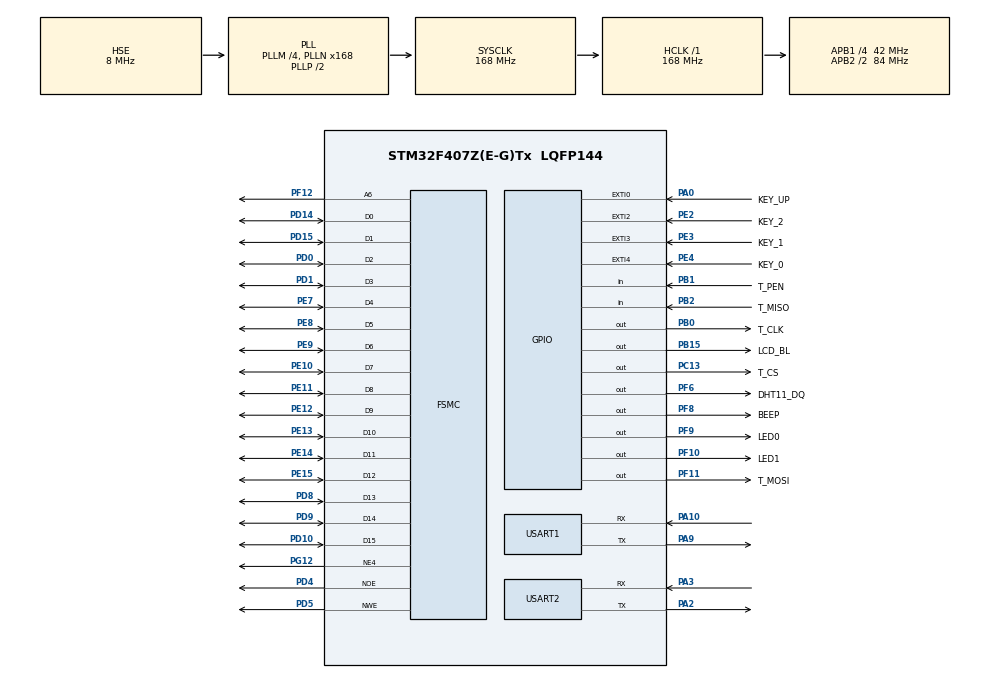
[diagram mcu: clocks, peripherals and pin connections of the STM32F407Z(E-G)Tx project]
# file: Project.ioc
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FREERTOS.Tasks01=defaultTask,24,128,StartDefaultTask,Default,NULL,Dynamic,NULL,NULL
FSMC.AddressSetupTime1=0
FSMC.DataSetupTime1=15
FSMC.ExtendedAddressSetupTime1=0
FSMC.ExtendedMode1=FSMC_EXTENDED_MODE_ENABLE
Mcu.Family=STM32F4
Mcu.Name=STM32F407Z(E-G)Tx
Mcu.Package=LQFP144
NVIC.PriorityGroup=NVIC_PRIORITYGROUP_4
NVIC.TIM1_UP_TIM10_IRQn=true\:0\:0\:true\:false\:true\:false\:false\:true\:true
NVIC.TimeBase=TIM1_UP_TIM10_IRQn
NVIC.TimeBaseIP=TIM1
PA0-WKUP.GPIO_Label=KEY_UP
PA0-WKUP.GPIO_ModeDefaultEXTI=GPIO_MODE_IT_RISING
PA0-WKUP.GPIO_PuPd=GPIO_PULLDOWN
PA0-WKUP.Signal=GPXTI0
PA10.Mode=Asynchronous
PA10.Signal=USART1_RX
PA13.Mode=Serial_Wire
PA13.Signal=SYS_JTMS-SWDIO
PA14.Mode=Serial_Wire
PA14.Signal=SYS_JTCK-SWCLK
PA2.Mode=Asynchronous
PA2.Signal=USART2_TX
PA3.Mode=Asynchronous
PA3.Signal=USART2_RX
PA9.Mode=Asynchronous
PA9.Signal=USART1_TX
PB0.GPIO_Label=T_CLK
PB0.GPIO_ModeDefaultOutputPP=GPIO_MODE_OUTPUT_PP
PB0.GPIO_PuPd=GPIO_NOPULL
PB0.GPIO_Speed=GPIO_SPEED_FREQ_HIGH
PB0.Signal=GPIO_Output
PB1.GPIO_Label=T_PEN
PB1.GPIO_Mode=GPIO_MODE_INPUT
PB1.GPIO_PuPd=GPIO_PULLUP
PB1.Signal=GPIO_Input
PB15.GPIO_Label=LCD_BL
PB15.GPIO_ModeDefaultOutputPP=GPIO_MODE_OUTPUT_PP
PB15.GPIO_PuPd=GPIO_PULLUP
PB15.GPIO_Speed=GPIO_SPEED_FREQ_HIGH
PB15.PinState=GPIO_PIN_SET
PB15.Signal=GPIO_Output
PB2.GPIO_Label=T_MISO
PB2.GPIO_PuPd=GPIO_NOPULL
PB2.Signal=GPIO_Input
PC13-ANTI_TAMP.GPIO_Label=T_CS
PC13-ANTI_TAMP.GPIO_ModeDefaultOutputPP=GPIO_MODE_OUTPUT_PP
PC13-ANTI_TAMP.GPIO_PuPd=GPIO_NOPULL
PC13-ANTI_TAMP.PinState=GPIO_PIN_SET
PC13-ANTI_TAMP.Signal=GPIO_Output
PC14-OSC32_IN.Mode=LSE-External-Oscillator
PC14-OSC32_IN.Signal=RCC_OSC32_IN
PC15-OSC32_OUT.Mode=LSE-External-Oscillator
PC15-OSC32_OUT.Signal=RCC_OSC32_OUT
PD0.Signal=FSMC_D2_DA2
PD1.Signal=FSMC_D3_DA3
PD10.Signal=FSMC_D15_DA15
PD14.Signal=FSMC_D0_DA0
PD15.Signal=FSMC_D1_DA1
PD4.Signal=FSMC_NOE
PD5.Signal=FSMC_NWE
PD8.Signal=FSMC_D13_DA13
PD9.Signal=FSMC_D14_DA14
PE10.Signal=FSMC_D7_DA7
PE11.Signal=FSMC_D8_DA8
PE12.Signal=FSMC_D9_DA9
PE13.Signal=FSMC_D10_DA10
PE14.Signal=FSMC_D11_DA11
PE15.Signal=FSMC_D12_DA12
PE2.GPIO_Label=KEY_2
PE2.GPIO_ModeDefaultEXTI=GPIO_MODE_IT_FALLING
PE2.GPIO_PuPd=GPIO_PULLUP
PE2.Signal=GPXTI2
PE3.GPIO_Label=KEY_1
PE3.GPIO_ModeDefaultEXTI=GPIO_MODE_IT_FALLING
PE3.GPIO_PuPd=GPIO_PULLUP
PE3.Signal=GPXTI3
PE4.GPIO_Label=KEY_0
PE4.GPIO_ModeDefaultEXTI=GPIO_MODE_IT_FALLING
PE4.GPIO_PuPd=GPIO_PULLUP
PE4.Signal=GPXTI4
PE7.Signal=FSMC_D4_DA4
PE8.Signal=FSMC_D5_DA5
PE9.Signal=FSMC_D6_DA6
PF10.GPIO_Label=LED1
PF10.GPIO_PuPd=GPIO_NOPULL
PF10.GPIO_Speed=GPIO_SPEED_FREQ_HIGH
PF10.PinState=GPIO_PIN_SET
PF10.Signal=GPIO_Output
PF11.GPIO_Label=T_MOSI
PF11.GPIO_ModeDefaultOutputPP=GPIO_MODE_OUTPUT_PP
PF11.GPIO_PuPd=GPIO_NOPULL
PF11.GPIO_Speed=GPIO_SPEED_FREQ_HIGH
PF11.Signal=GPIO_Output
PF12.Signal=FSMC_A6
PF6.GPIO_Label=DHT11_DQ
PF6.GPIO_ModeDefaultOutputPP=GPIO_MODE_OUTPUT_OD
PF6.GPIO_PuPd=GPIO_PULLUP
PF6.GPIO_Speed=GPIO_SPEED_FREQ_HIGH
PF6.PinState=GPIO_PIN_RESET
PF6.Signal=GPIO_Output
PF8.GPIO_Label=BEEP
PF8.GPIO_ModeDefaultOutputPP=GPIO_MODE_OUTPUT_PP
PF8.GPIO_PuPd=GPIO_NOPULL
PF8.GPIO_Speed=GPIO_SPEED_FREQ_HIGH
PF8.PinState=GPIO_PIN_RESET
PF8.Signal=GPIO_Output
PF9.GPIO_Label=LED0
PF9.GPIO_PuPd=GPIO_NOPULL
PF9.GPIO_Speed=GPIO_SPEED_FREQ_HIGH
PF9.PinState=GPIO_PIN_SET
PF9.Signal=GPIO_Output
PG12.Mode=NorPsramChipSelect4_1
PG12.Signal=FSMC_NE4
PH0-OSC_IN.Mode=HSE-External-Oscillator
PH0-OSC_IN.Signal=RCC_OSC_IN
PH1-OSC_OUT.Mode=HSE-External-Oscillator
PH1-OSC_OUT.Signal=RCC_OSC_OUT
ProjectManager.HeapSize=0x200
ProjectManager.StackSize=0x400
ProjectManager.TargetToolchain=Makefile
RCC.48MHZClocksFreq_Value=84000000
RCC.AHBFreq_Value=168000000
RCC.APB1CLKDivider=RCC_HCLK_DIV4
RCC.APB1Freq_Value=42000000
RCC.APB1TimFreq_Value=84000000
RCC.APB2CLKDivider=RCC_HCLK_DIV2
RCC.APB2Freq_Value=84000000
RCC.APB2TimFreq_Value=168000000
RCC.CortexFreq_Value=168000000
RCC.HCLKFreq_Value=168000000
RCC.HSE_VALUE=8000000
RCC.HSI_VALUE=16000000
RCC.PLLM=4
RCC.PLLN=168
RCC.PLLSourceVirtual=RCC_PLLSOURCE_HSE
RCC.RCC_RTC_Clock_Source=RCC_RTCCLKSOURCE_LSE
RCC.RCC_RTC_Clock_SourceVirtual=RCC_RTCCLKSOURCE_LSE
RCC.SYSCLKFreq_VALUE=168000000
RCC.SYSCLKSource=RCC_SYSCLKSOURCE_PLLCLK
RCC.VCOOutputFreq_Value=336000000
SH.FSMC_A6.0=FSMC_A6,A6_1
SH.FSMC_D0_DA0.0=FSMC_D0,16b-d1
SH.FSMC_D10_DA10.0=FSMC_D10,16b-d1
SH.FSMC_D11_DA11.0=FSMC_D11,16b-d1
SH.FSMC_D12_DA12.0=FSMC_D12,16b-d1
SH.FSMC_D13_DA13.0=FSMC_D13,16b-d1
SH.FSMC_D14_DA14.0=FSMC_D14,16b-d1
SH.FSMC_D15_DA15.0=FSMC_D15,16b-d1
SH.FSMC_D1_DA1.0=FSMC_D1,16b-d1
SH.FSMC_D2_DA2.0=FSMC_D2,16b-d1
SH.FSMC_D3_DA3.0=FSMC_D3,16b-d1
SH.FSMC_D4_DA4.0=FSMC_D4,16b-d1
SH.FSMC_D5_DA5.0=FSMC_D5,16b-d1
SH.FSMC_D6_DA6.0=FSMC_D6,16b-d1
SH.FSMC_D7_DA7.0=FSMC_D7,16b-d1
SH.FSMC_D8_DA8.0=FSMC_D8,16b-d1
SH.FSMC_D9_DA9.0=FSMC_D9,16b-d1
SH.FSMC_NOE.0=FSMC_NOE,Lcd1
SH.FSMC_NWE.0=FSMC_NWE,Lcd1
USART1.VirtualMode=VM_ASYNC
USART2.VirtualMode=VM_ASYNC
VP_FREERTOS_VS_CMSIS_V2.Mode=CMSIS_V2
VP_RTC_VS_RTC_Activate.Mode=RTC_Enabled
VP_RTC_VS_RTC_Calendar.Mode=RTC_Calendar
VP_SYS_VS_tim1.Mode=TIM1
board=custom

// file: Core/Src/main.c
/* USER CODE BEGIN Header */
/**
  ******************************************************************************
  * @file           : main.c
  * @brief          : 天气时钟系统主程序入口
  ******************************************************************************
  * @attention
  *
  * Copyright (c) 2026 STMicroelectronics.
  * All rights reserved.
  *
  * This software is licensed under terms that can be found in the LICENSE file
  * in the root directory of this software component.
  * If no LICENSE file comes with this software, it is provided AS-IS.
  *
  ******************************************************************************
  */
/* USER CODE END Header */
#include "main.h"
#include "cmsis_os.h"
#include "rtc.h"
#include "usart.h"
#include "gpio.h"
#include "fsmc.h"

/* USER CODE BEGIN Includes */
#include "led.h"
#include "bsp_usart.h"
#include "bsp_key.h"
#include "bsp_dht11.h"
#include "bsp_delay.h"
#include "lcd.h"
#include "weather.h"
#include "bsp_espat.h"
#include "page.h"
#include "app.h"
#include "FreeRTOS.h"
#include "task.h"
#include <stdio.h>
#include "lvgl.h"
#include "lv_port_disp.h"
#include "lv_port_indev.h"
/* USER CODE END Includes */

void SystemClock_Config(void);
void MX_FREERTOS_Init(void);

/* USER CODE BEGIN 0 */

/**
 * @brief FreeRTOS断言失败回调
 *
 * 当FreeRTOS内部断言检查失败时调用，禁用中断并进入死循环
 *
 * @param file 断言失败的文件名
 * @param line 断言失败的行号
 */
void vAssertCalled(const char *file, int line)
{
    (void)file;
    (void)line;
    taskDISABLE_INTERRUPTS();
    for (;;);
}

/**
 * @brief FreeRTOS栈溢出钩子函数
 *
 * 当检测到任务栈溢出时调用，禁用中断并进入死循环
 *
 * @param xTask 发生溢出的任务句柄
 * @param pcTaskName 发生溢出的任务名称
 */
void vApplicationStackOverflowHook(TaskHandle_t xTask, char *pcTaskName)
{
    (void)xTask;
    (void)pcTaskName;
    taskDISABLE_INTERRUPTS();
    for (;;);
}

/**
 * @brief FreeRTOS内存分配失败钩子函数
 *
 * 当pvPortMalloc()分配内存失败时调用，禁用中断并进入死循环
 */
void vApplicationMallocFailedHook(void)
{
    taskDISABLE_INTERRUPTS();
    for (;;);
}
/* USER CODE END 0 */

/**
  * @brief  应用程序入口函数
  *
  * 系统启动流程：
  * 1. HAL库初始化（Flash预取、SysTick配置）
  * 2. 系统时钟配置（HSE 8MHz -> PLL -> 168MHz）
  * 3. 外设初始化（GPIO、UART、FSMC、RTC）
  * 4. 驱动初始化（DWT延时、DHT11、LCD、LVGL）
  * 5. 显示欢迎页面
  * 6. 启动FreeRTOS调度器
  *
  * @retval int 正常情况下不会返回
  */
int main(void)
{

  /* MCU Configuration--------------------------------------------------------*/

  /* 复位所有外设，初始化Flash接口和SysTick定时器 */
  HAL_Init();

  /* 配置系统时钟 */
  SystemClock_Config();

  /* 初始化所有配置的外设 */
  MX_GPIO_Init();
  MX_USART1_UART_Init();    /* USART1: 调试串口 (PA9/PA10, 115200) */
  MX_FSMC_Init();            /* FSMC: LCD数据总线 (Bank1 NE4, 16bit) */
  MX_USART2_UART_Init();    /* USART2: ESP模块通信 (PA2/PA3, 115200) */
  MX_RTC_Init();             /* RTC: 实时时钟 (LSE 32.768kHz) */

  /* USER CODE BEGIN 2 */
  printf("[MAIN] Hardware init complete\n");
  printf("[MAIN] SystemCoreClock = %lu\n", SystemCoreClock);

  DWT_Delay_Init();
  printf("[MAIN] DWT init done\n");

  dht11_init();
  printf("[MAIN] DHT11 init done\n");

  lcd_init();
  printf("[MAIN] LCD init done\n");

  lv_init();
  lv_port_disp_init();
  lv_port_indev_init();
  printf("[MAIN] LVGL init done\n");

  welcome_page_display();
  printf("[MAIN] Welcome page displayed\n");

  /* USER CODE END 2 */

  /* 初始化FreeRTOS调度器 */
  osKernelInitialize();
  MX_FREERTOS_Init();

  /* 启动调度器（此函数不会返回） */
  osKernelStart();

  /* 正常情况下不会执行到这里，控制权已交给调度器 */

  while (1)
  {

  }
}

/**
  * @brief 系统时钟配置
  *
  * 时钟树配置：
  * - HSE (8MHz外部晶振) 作为PLL输入
  * - PLLM=4, PLLN=168, PLLP=2 -> SYSCLK=168MHz
  * - AHB分频=1 -> HCLK=168MHz
  * - APB1分频=4 -> PCLK1=42MHz (Timer=84MHz)
  * - APB2分频=2 -> PCLK2=84MHz (Timer=168MHz)
  * - LSE (32.768kHz外部晶振) 用于RTC
  *
  * @retval None
  */
void SystemClock_Config(void)
{
  RCC_OscInitTypeDef RCC_OscInitStruct = {0};
  RCC_ClkInitTypeDef RCC_ClkInitStruct = {0};

  /** 配置主内部稳压器输出电压 */
  __HAL_RCC_PWR_CLK_ENABLE();
  __HAL_PWR_VOLTAGESCALING_CONFIG(PWR_REGULATOR_VOLTAGE_SCALE1);

  /** 初始化RCC振荡器 */
  RCC_OscInitStruct.OscillatorType = RCC_OSCILLATORTYPE_HSE|RCC_OSCILLATORTYPE_LSE;
  RCC_OscInitStruct.HSEState = RCC_HSE_ON;
  RCC_OscInitStruct.LSEState = RCC_LSE_ON;
  RCC_OscInitStruct.PLL.PLLState = RCC_PLL_ON;
  RCC_OscInitStruct.PLL.PLLSource = RCC_PLLSOURCE_HSE;
  RCC_OscInitStruct.PLL.PLLM = 4;
  RCC_OscInitStruct.PLL.PLLN = 168;
  RCC_OscInitStruct.PLL.PLLP = RCC_PLLP_DIV2;
  RCC_OscInitStruct.PLL.PLLQ = 4;
  if (HAL_RCC_OscConfig(&RCC_OscInitStruct) != HAL_OK)
  {
    Error_Handler();
  }

  /** 初始化CPU、AHB和APB总线时钟 */
  RCC_ClkInitStruct.ClockType = RCC_CLOCKTYPE_HCLK|RCC_CLOCKTYPE_SYSCLK
                              |RCC_CLOCKTYPE_PCLK1|RCC_CLOCKTYPE_PCLK2;
  RCC_ClkInitStruct.SYSCLKSource = RCC_SYSCLKSOURCE_PLLCLK;
  RCC_ClkInitStruct.AHBCLKDivider = RCC_SYSCLK_DIV1;
  RCC_ClkInitStruct.APB1CLKDivider = RCC_HCLK_DIV4;
  RCC_ClkInitStruct.APB2CLKDivider = RCC_HCLK_DIV2;

  if (HAL_RCC_ClockConfig(&RCC_ClkInitStruct, FLASH_LATENCY_5) != HAL_OK)
  {
    Error_Handler();
  }
}

/**
  * @brief  定时器周期溢出回调函数（非阻塞模式）
  *
  * 当TIM1中断发生时，在HAL_TIM_IRQHandler()中直接调用此函数
  * 递增全局变量"uwTick"作为应用时间基准
  *
  * @param  htim : TIM句柄
  * @retval None
  */
void HAL_TIM_PeriodElapsedCallback(TIM_HandleTypeDef *htim)
{
  if (htim->Instance == TIM1)
  {
    HAL_IncTick();
  }
}

/**
  * @brief  错误处理函数
  *
  * 当发生不可恢复的错误时调用，禁用中断并进入死循环
  *
  * @retval None
  */
void Error_Handler(void)
{
  __disable_irq();
  while (1)
  {
  }
}
#ifdef USE_FULL_ASSERT
/**
  * @brief  断言失败报告函数
  *
  * @param  file: 源文件名指针
  * @param  line: 断言失败的行号
  * @retval None
  */
void assert_failed(uint8_t *file, uint32_t line)
{
  /* USER CODE BEGIN 6 */
  /* 用户可在此添加自己的实现来报告文件名和行号 */
  /* USER CODE END 6 */
}
#endif /* USE_FULL_ASSERT */

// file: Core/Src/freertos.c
/* USER CODE BEGIN Header */
/**
  ******************************************************************************
  * @file           : freertos.c
  * @brief          : FreeRTOS任务管理与系统核心逻辑
  ******************************************************************************
  * @attention
  *
  * Copyright (c) 2026 STMicroelectronics.
  * All rights reserved.
  *
  * This software is licensed under terms that can be found in the LICENSE file
  * in the root directory of this software component.
  * If no LICENSE file comes with this software, it is provided AS-IS.
  *
  ******************************************************************************
  */
/* USER CODE END Header */

#include "FreeRTOS.h"
#include "task.h"
#include "main.h"
#include "cmsis_os.h"

/* USER CODE BEGIN Includes */
#include "bsp_usart.h"
#include "bsp_dht11.h"
#include "bsp_delay.h"
#include "bsp_rtc.h"
#include "bsp_espat.h"
#include "lcd.h"
#include "weather.h"
#include "page.h"
#include "app.h"
#include <stdio.h>
#include <string.h>
#include "stm32f4xx.h"
#include "lvgl.h"
#include "lv_port_indev.h"

extern int __io_putchar(int ch);
/* USER CODE END Includes */

/* USER CODE BEGIN Variables */

/*============================================================================*/
/*                             同步对象定义                                   */
/*============================================================================*/

osMutexId_t lcd_mutex = NULL;           /**< LVGL互斥锁，保护LVGL线程安全 */
static osMutexId_t esp_mutex = NULL;    /**< ESP模块互斥锁，保护AT指令通信 */
static osEventFlagsId_t app_events = NULL;  /**< 应用事件标志组 */
static osTimerId_t led_timer = NULL;    /**< LED心跳定时器 */

/*============================================================================*/
/*                             事件标志定义                                   */
/*============================================================================*/

#define EVENT_WIFI_CONNECTED   (1 << 0)    /**< WiFi已连接事件 */
#define EVENT_TIME_SYNCED      (1 << 1)    /**< 时间已同步事件 */
#define EVENT_MAIN_PAGE_READY  (1 << 2)    /**< 主页面已就绪事件 */

/*============================================================================*/
/*                             调试配置                                       */
/*============================================================================*/

#define DEBUG_ENABLED  1

#if DEBUG_ENABLED
#define DEBUG_PRINTF(fmt, ...) printf(fmt, ##__VA_ARGS__)
#else
#define DEBUG_PRINTF(fmt, ...)
#endif

/*============================================================================*/
/*                             任务句柄与属性                                 */
/*============================================================================*/

/* WiFi任务 */
osThreadId_t wifiTaskHandle;
const osThreadAttr_t wifiTask_attributes = {
  .name = "wifiTask",
  .stack_size = 1024 * 4,       /* 4KB栈空间 */
  .priority = (osPriority_t) osPriorityNormal,
};

/* 时间任务 */
osThreadId_t timeTaskHandle;
const osThreadAttr_t timeTask_attributes = {
  .name = "timeTask",
  .stack_size = 256 * 4,        /* 1KB栈空间 */
  .priority = (osPriority_t) osPriorityNormal,
};

/* 传感器任务 */
osThreadId_t sensorTaskHandle;
const osThreadAttr_t sensorTask_attributes = {
  .name = "sensorTask",
  .stack_size = 256 * 4,        /* 1KB栈空间 */
  .priority = (osPriority_t) osPriorityNormal,
};

/* 天气任务 */
osThreadId_t weatherTaskHandle;
const osThreadAttr_t weatherTask_attributes = {
    .name = "weatherTask",
    .stack_size = 512 * 4,      /* 2KB栈空间 */
    .priority = (osPriority_t) osPriorityBelowNormal,  /* 低于Normal，避免阻塞其他任务 */
};

/* LVGL任务 */
osThreadId_t lvglTaskHandle;
const osThreadAttr_t lvglTask_attributes = {
    .name = "lvglTask",
    .stack_size = 1024 * 4,     /* 4KB栈空间 */
    .priority = (osPriority_t) osPriorityNormal,
};

/* USER CODE END Variables */
/* 默认任务（CubeMX生成） */
osThreadId_t defaultTaskHandle;
const osThreadAttr_t defaultTask_attributes = {
  .name = "defaultTask",
  .stack_size = 128 * 4,
  .priority = (osPriority_t) osPriorityNormal,
};

/* USER CODE BEGIN FunctionPrototypes */
void StartWifiTask(void *argument);
void StartTimeTask(void *argument);
void StartSensorTask(void *argument);
void StartWeatherTask(void *argument);
static void LedTimerCallback(void *argument);
void StartLvglTask(void *argument);
/* USER CODE END FunctionPrototypes */

void StartDefaultTask(void *argument);

void MX_FREERTOS_Init(void); /* (MISRA C 2004 rule 8.1) */

/**
  * @brief  FreeRTOS初始化函数
  *
  * 创建所有同步对象（互斥锁、事件标志）和任务线程
  *
  * @param  None
  * @retval None
  */
void MX_FREERTOS_Init(void) {

  /* USER CODE BEGIN RTOS_MUTEX */
  lcd_mutex = osMutexNew(NULL);      /* LVGL互斥锁 */
  esp_mutex = osMutexNew(NULL);      /* ESP模块互斥锁 */
  app_events = osEventFlagsNew(NULL); /* 应用事件标志组 */
  /* USER CODE END RTOS_MUTEX */

  /* USER CODE BEGIN RTOS_TIMERS */
  /* LED心跳定时器：每500ms切换一次LED状态 */
  osTimerAttr_t led_timer_attr = {
      .name = "ledTimer"
  };
  led_timer = osTimerNew(LedTimerCallback, osTimerPeriodic, NULL, &led_timer_attr);
  if (led_timer != NULL)
  {
      osTimerStart(led_timer, 500);
  }
  /* USER CODE END RTOS_TIMERS */

  /* 创建任务线程 */
  defaultTaskHandle = osThreadNew(StartDefaultTask, NULL, &defaultTask_attributes);

  /* USER CODE BEGIN RTOS_THREADS */
  wifiTaskHandle = osThreadNew(StartWifiTask, NULL, &wifiTask_attributes);
  timeTaskHandle = osThreadNew(StartTimeTask, NULL, &timeTask_attributes);
  sensorTaskHandle = osThreadNew(StartSensorTask, NULL, &sensorTask_attributes);
  weatherTaskHandle = osThreadNew(StartWeatherTask, NULL, &weatherTask_attributes);

  lvglTaskHandle = osThreadNew(StartLvglTask, NULL, &lvglTask_attributes);
  DEBUG_PRINTF("[FREERTOS] lvglTask created: %p\n", (void*)lvglTaskHandle);
  /* USER CODE END RTOS_THREADS */

}

/* USER CODE BEGIN Header_StartDefaultTask */
/**
  * @brief  默认任务实现
  * @param  argument: 未使用
  * @retval None
  */
/* USER CODE END Header_StartDefaultTask */
void StartDefaultTask(void *argument)
{
  /* USER CODE BEGIN StartDefaultTask */
  DEBUG_PRINTF("[DEFAULT_TASK] Starting...\n");
  for(;;)
  {
    vTaskDelay(pdMS_TO_TICKS(10000));
  }
  /* USER CODE END StartDefaultTask */
}

/* USER CODE BEGIN Application */

/*============================================================================*/
/*                             系统服务函数                                   */
/*============================================================================*/

/**
 * @brief LED心跳定时器回调
 *
 * 每500ms切换一次PF9引脚（LED0），作为系统运行指示
 */
static void LedTimerCallback(void *argument)
{
    (void)argument;
    HAL_GPIO_TogglePin(GPIOF, GPIO_PIN_9);
}

/**
 * @brief 检查时间是否已同步
 * @return 1: 已同步  0: 未同步
 */
uint8_t time_is_synced(void)
{
    if (app_events == NULL) return 0;
    return (osEventFlagsGet(app_events) & EVENT_TIME_SYNCED) != 0;
}

/**
 * @brief 检查WiFi是否已连接
 * @return 1: 已连接  0: 未连接
 */
uint8_t wifi_is_ready(void)
{
    if (app_events == NULL) return 0;
    return (osEventFlagsGet(app_events) & EVENT_WIFI_CONNECTED) != 0;
}

/**
 * @brief 检查主页面是否就绪
 * @return 1: 就绪  0: 未就绪
 */
uint8_t main_page_is_ready(void)
{
    if (app_events == NULL) return 0;
    return (osEventFlagsGet(app_events) & EVENT_MAIN_PAGE_READY) != 0;
}

/**
 * @brief 获取LCD互斥锁（阻塞等待）
 */
void lcd_lock(void)
{
    if (lcd_mutex != NULL)
    {
        osMutexAcquire(lcd_mutex, osWaitForever);
    }
}

/**
 * @brief 释放LCD互斥锁
 */
void lcd_unlock(void)
{
    if (lcd_mutex != NULL)
    {
        osMutexRelease(lcd_mutex);
    }
}

/**
 * @brief 获取ESP模块互斥锁（阻塞等待）
 */
void esp_lock(void)
{
    if (esp_mutex != NULL)
    {
        osMutexAcquire(esp_mutex, osWaitForever);
    }
}

/**
 * @brief 释放ESP模块互斥锁
 */
void esp_unlock(void)
{
    if (esp_mutex != NULL)
    {
        osMutexRelease(esp_mutex);
    }
}

/*============================================================================*/
/*                             WiFi任务                                       */
/*============================================================================*/

/**
 * @brief WiFi管理任务
 *
 * 职责：
 * 1. 初始化ESP模块和WiFi协议栈（最多重试3次）
 * 2. 连接到配置的WiFi热点
 * 3. 显示主页面并设置事件标志
 * 4. 持续监控WiFi连接状态，断线自动重连
 *
 * @param argument 未使用
 */
void StartWifiTask(void *argument)
{
    (void)argument;
    DEBUG_PRINTF("[WIFI_TASK] Starting...\n");

    vTaskDelay(pdMS_TO_TICKS(5000));  /* 等待系统稳定 */

    wifi_page_display();  /* 显示WiFi连接页面 */

    DEBUG_PRINTF("[WIFI_TASK] Initializing WiFi...\n");

    /* 初始化WiFi（最多重试3次） */
    uint8_t init_retry = 0;
    while (!wifi_init() && init_retry < 3)
    {
        init_retry++;
        DEBUG_PRINTF("[WIFI_TASK] WiFi init failed, retry %d/3...\n", init_retry);
        vTaskDelay(pdMS_TO_TICKS(3000));
    }

    if (init_retry >= 3)
    {
        DEBUG_PRINTF("[WIFI_TASK] WiFi init failed after 3 retries\n");
        error_page_display("wireless init failed");
        for (;;){ vTaskDelay(pdMS_TO_TICKS(1000)); }
    }

    /* 连接到WiFi热点 */
    DEBUG_PRINTF("[WIFI_TASK] Connecting to %s...\n", WIFI_SSID);

    while (1)
    {
        if (esp_at_connect_wifi(WIFI_SSID, WIFI_PASSWD, NULL))
        {
            DEBUG_PRINTF("[WIFI_TASK] WiFi Connected, waiting for network stable...\n");
            vTaskDelay(pdMS_TO_TICKS(2000));

            esp_wifi_info_t wifi = {0};
            if (esp_at_get_wifi_info(&wifi))
            {
                DEBUG_PRINTF("[WIFI_TASK] WiFi info: connected=%d, SSID=%s\n", wifi.connected, wifi.ssid);
            }

            osEventFlagsSet(app_events, EVENT_WIFI_CONNECTED);
            break;
        }
        else
        {
            DEBUG_PRINTF("[WIFI_TASK] WiFi Connect failed, retry in 3s...\n");
            vTaskDelay(pdMS_TO_TICKS(3000));
        }
    }

    /* 显示主页面 */
    main_page_display();

    esp_wifi_info_t wifi_info = {0};
    if (esp_at_get_wifi_info(&wifi_info) && wifi_info.connected)
    {
        main_page_redraw_wifi_ssid(wifi_info.ssid, true);
    }

    osEventFlagsSet(app_events, EVENT_MAIN_PAGE_READY);
    DEBUG_PRINTF("[WIFI_TASK] Main page displayed, entering monitor loop\n");

    /* WiFi连接监控循环 */
    uint8_t disconnect_count = 0;

    for (;;)
    {
        esp_wifi_info_t wifi = {0};
        if (esp_at_get_wifi_info(&wifi))
        {
            if (!wifi.connected)
            {
                disconnect_count++;
                if (disconnect_count >= 3)
                {
                    DEBUG_PRINTF("[WIFI_TASK] Connection lost, reconnecting...\n");
                    osEventFlagsClear(app_events, EVENT_WIFI_CONNECTED);
                    main_page_redraw_wifi_ssid("disconnected", false);

                    if (esp_at_connect_wifi(WIFI_SSID, WIFI_PASSWD, NULL))
                    {
                        DEBUG_PRINTF("[WIFI_TASK] Reconnected\n");
                        osEventFlagsSet(app_events, EVENT_WIFI_CONNECTED);
                        disconnect_count = 0;
                        esp_wifi_info_t new_wifi = {0};
                        if (esp_at_get_wifi_info(&new_wifi) && new_wifi.connected)
                        {
                            main_page_redraw_wifi_ssid(new_wifi.ssid, true);
                        }
                    }
                }
            }
            else
            {
                disconnect_count = 0;
            }
        }

        vTaskDelay(pdMS_TO_TICKS(5000));
    }
}

/*============================================================================*/
/*                             时间任务                                       */
/*============================================================================*/

/**
 * @brief 时间管理任务
 *
 * 职责：
 * 1. 等待WiFi连接完成
 * 2. 通过SNTP同步网络时间到RTC
 * 3. 每秒更新主页面的时间和日期显示
 *
 * @param argument 未使用
 */
void StartTimeTask(void *argument)
{
    (void)argument;
    DEBUG_PRINTF("[TIME_TASK] Starting...\n");

    DEBUG_PRINTF("[TIME_TASK] Waiting for WiFi...\n");
    osEventFlagsWait(app_events, EVENT_WIFI_CONNECTED, osFlagsWaitAll, osWaitForever);

    vTaskDelay(pdMS_TO_TICKS(3000));

    DEBUG_PRINTF("[TIME_TASK] WiFi connected, syncing time...\n");

    for (;;)
    {
        /* 如果时间未同步，尝试从SNTP获取 */
        if (!time_is_synced())
        {
            esp_date_time_t esp_date = {0};
            esp_lock();
            bool ok = esp_at_sntp_get_time(&esp_date);
            esp_unlock();

            if (ok && esp_date.year >= 2020)
            {
                DEBUG_PRINTF("[TIME_TASK] SNTP: %04u-%02u-%02u %02u:%02u:%02u\n",
                    esp_date.year, esp_date.month, esp_date.day,
                    esp_date.hour, esp_date.minute, esp_date.second);

                /* 将SNTP时间写入RTC */
                rtc_date_time_t rtc_date = {0};
                rtc_date.year = esp_date.year;
                rtc_date.month = esp_date.month;
                rtc_date.day = esp_date.day;
                rtc_date.hour = esp_date.hour;
                rtc_date.minute = esp_date.minute;
                rtc_date.second = esp_date.second;
                rtc_date.weekday = esp_date.weekday;

                bsp_rtc_set_time(&rtc_date);
                osEventFlagsSet(app_events, EVENT_TIME_SYNCED);
                DEBUG_PRINTF("[TIME_TASK] Time synced\n");
            }
            else
            {
                DEBUG_PRINTF("[TIME_TASK] SNTP failed, retry in 5s...\n");
                vTaskDelay(pdMS_TO_TICKS(5000));
                continue;
            }
        }

        /* 更新时间显示 */
        if (time_is_synced())
        {
            rtc_date_time_t date;
            bsp_rtc_get_time(&date);

            if (date.year >= 2020)
            {
                main_page_redraw_time(&date);
                main_page_redraw_date(&date);
            }
        }

        vTaskDelay(pdMS_TO_TICKS(1000));
    }
}

/*============================================================================*/
/*                             传感器任务                                     */
/*============================================================================*/

/**
 * @brief 温湿度传感器任务
 *
 * 职责：
 * 1. 等待主页面就绪
 * 2. 每3秒读取DHT11传感器数据
 * 3. 更新主页面的室内温湿度显示
 *
 * @param argument 未使用
 */
void StartSensorTask(void *argument)
{
    (void)argument;
    DEBUG_PRINTF("[SENSOR_TASK] Starting...\n");

    DEBUG_PRINTF("[SENSOR_TASK] Waiting for main page ready...\n");
    osEventFlagsWait(app_events, EVENT_MAIN_PAGE_READY, osFlagsWaitAll, osWaitForever);
    DEBUG_PRINTF("[SENSOR_TASK] Main page ready, starting sensor monitoring\n");

    vTaskDelay(pdMS_TO_TICKS(2000));

    static uint8_t last_temp = 0;
    static uint8_t last_humid = 0;
    static uint8_t has_valid_data = 0;

    for (;;)
    {
        uint8_t temp = 0, humid = 0;

        if (dht11_read_data(&temp, &humid) == 0)
        {
            last_temp = temp;
            last_humid = humid;
            has_valid_data = 1;

            DEBUG_PRINTF("[SENSOR_TASK] T=%dC, H=%d%%\n", temp, humid);
            main_page_redraw_inner_temperature((float)temp);
            main_page_redraw_inner_humidity((float)humid);
        }
        else
        {
            DEBUG_PRINTF("[SENSOR_TASK] DHT11 read failed\n");

            if (has_valid_data)
            {
                DEBUG_PRINTF("[SENSOR_TASK] Using last valid: T=%dC, H=%d%%\n", last_temp, last_humid);
            }
        }

        vTaskDelay(pdMS_TO_TICKS(3000));
    }
}

/*============================================================================*/
/*                             天气任务                                       */
/*============================================================================*/

/**
 * @brief 天气信息获取任务
 *
 * 职责：
 * 1. 等待WiFi连接完成
 * 2. 每60秒通过HTTP GET请求心知天气API
 * 3. 解析JSON响应并更新主页面的室外天气显示
 *
 * @param argument 未使用
 */
void StartWeatherTask(void *argument)
{
    (void)argument;
    DEBUG_PRINTF("[WEATHER_TASK] Starting...\n");

    DEBUG_PRINTF("[WEATHER_TASK] Waiting for WiFi...\n");
    osEventFlagsWait(app_events, EVENT_WIFI_CONNECTED, osFlagsWaitAll, osWaitForever);

    vTaskDelay(pdMS_TO_TICKS(5000));

    DEBUG_PRINTF("[WEATHER_TASK] WiFi connected, fetching weather...\n");

    /* 心知天气API URL */
    static const char *weather_url = "http://api.seniverse.com/v3/weather/daily.json?key=SMrYk_pYNmh3z37k5&location=Hengyang&language=en&unit=c&days=1";
    static weather_info_t last_weather = {0};

    for (;;)
    {
        DEBUG_PRINTF("[WEATHER_TASK] Fetching weather...\n");

        esp_lock();
        const char *response = esp_at_http_get(weather_url);
        esp_unlock();

        if (response != NULL)
        {
            DEBUG_PRINTF("[WEATHER_TASK] Response: %.200s...\n", response);

            const char *json_start = strchr(response, '{');
            if (json_start != NULL)
            {
                weather_info_t weather = {0};
                if (parse_seniverse_response(json_start, &weather))
                {
                    DEBUG_PRINTF("[WEATHER_TASK] Parsed: city=%s, weather=%s, temp=%d, code=%d\n",
                        weather.city, weather.weather, weather.temperature, weather.weather_code);

                    /* 仅当数据变化时更新UI */
                    if (memcmp(&last_weather, &weather, sizeof(weather_info_t)) != 0)
                    {
                        memcpy(&last_weather, &weather, sizeof(weather_info_t));
                        DEBUG_PRINTF("[WEATHER_TASK] %s, %s, %dC, code=%d, humidity=%d%%, wind=%s %d km/h\n",
                            weather.city, weather.weather, weather.temperature, weather.weather_code,
                            weather.humidity, weather.wind_direction, weather.wind_speed);

                        main_page_redraw_outdoor_temperature(weather.temperature);
                        main_page_redraw_outdoor_weather_icon(weather.weather_code);
                        main_page_redraw_outdoor_humidity(weather.humidity);
                        main_page_redraw_outdoor_wind(weather.wind_speed, weather.wind_direction);
                    }
                }
                else
                {
                    DEBUG_PRINTF("[WEATHER_TASK] Parse failed, JSON: %.100s\n", json_start);
                }
            }
            else
            {
                DEBUG_PRINTF("[WEATHER_TASK] No JSON found in response\n");
            }
        }
        else
        {
            DEBUG_PRINTF("[WEATHER_TASK] HTTP failed\n");
        }

        vTaskDelay(pdMS_TO_TICKS(60000));
    }
}

/*============================================================================*/
/*                             LVGL任务                                       */
/*============================================================================*/

/**
 * @brief LVGL图形处理任务
 *
 * 职责：每5ms调用一次lv_task_handler()，驱动LVGL的UI渲染和事件处理
 *
 * @param argument 未使用
 */
void StartLvglTask(void *argument)
{
    (void)argument;
    DEBUG_PRINTF("[LVGL_TASK] Starting...\n");
    for (;;)
    {
        lv_task_handler();
        vTaskDelay(pdMS_TO_TICKS(5));
    }
}

/* USER CODE END Application */
